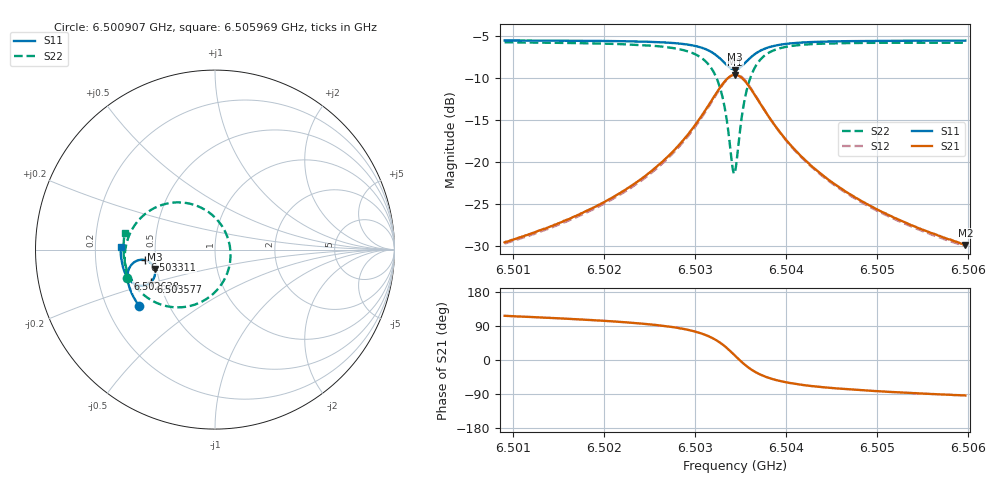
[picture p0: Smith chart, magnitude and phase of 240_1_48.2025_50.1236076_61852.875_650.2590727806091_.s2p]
#  HZ  S  RI  R  50.00
! Rohde & Schwarz Vector Network Analyzer
! Rohde-Schwarz,ZNB20-2Port,1311601062101988,3.16
! Created: UTC 3/20/2024, 11:46:48 AM
! freq[Hz]  re:S11  im:S11  re:S21  im:S21  re:S12  im:S12  re:S22  im:S22
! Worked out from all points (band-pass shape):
!   401 points, 6.500907 GHz to 6.505969 GHz, reference 50 ohm
!   highest |S21| = -9.65 dB at 6.503438 GHz (marker M1); lowest = -29.9 dB at 6.505969 GHz (marker M2)
!   |S21| within 3 dB of the highest: 6.503184 GHz to 6.50369 GHz (505.9 kHz wide, 0.00778 % of centre)
!   lowest |S11| = -9.0 dB at 6.503438 GHz (marker M3), VSWR 2.09, Z = 24.3 - j5.98 ohm
!   |S11| at or under -10 dB: nowhere
!   |S22| runs from -21.4 to -5.8 dB; largest |S21 - S12| = 0.012
!   S11 on the Smith chart (normalised r, x): 6.500907 GHz: 0.34, -0.29; 6.502628 GHz: 0.33, -0.15; 6.503311 GHz: 0.44, -0.06; 6.503577 GHz: 0.45, -0.19; 6.505969 GHz: 0.31, +0.01
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6.5009074e9  -0.4244 -0.3118  -0.0149 0.0298  -0.0133 0.03  -0.4888 -0.1579
6.5017551e9  -0.4611 -0.2496  -0.0144 0.0475  -0.0118 0.0471  -0.5026 -0.0683
6.5022359e9  -0.478 -0.2071  -0.0114 0.0675  -0.00828 0.0664  -0.4996 -0.000154
6.5026028e9  -0.4867 -0.1667  -0.0024 0.0962  0.00114 0.0939  -0.4806 0.073
6.5026281e9  -0.4871 -0.1634  -0.00136 0.099  0.00226 0.0966  -0.478 0.0792
6.5029192e9  -0.4834 -0.1187  0.0259 0.1429  0.0298 0.1384  -0.4213 0.1683
6.503109e9  -0.4621 -0.0805  0.0801 0.1848  0.0827 0.1786  -0.3177 0.2409
6.5032228e9  -0.4295 -0.0599  0.1493 0.2022  0.1502 0.196  -0.1929 0.2629
6.5033114e9  -0.3891 -0.0584  0.2289 0.1857  0.2293 0.1808  -0.0555 0.2218
6.5033494e9  -0.3698 -0.0661  0.2651 0.1622  0.266 0.1578  0.00425 0.1744
6.5034126e9  -0.3432 -0.093  0.3127 0.098  0.3153 0.0931  0.0755 0.0504
6.5034379e9  -0.3369 -0.1076  0.3228 0.0658  0.3259 0.0599  0.0861 -0.00967
6.5034632e9  -0.3341 -0.1232  0.3261 0.0321  0.3296 0.025  0.0838 -0.0714
6.5035265e9  -0.3414 -0.1604  0.3074 -0.0458  0.3093 -0.0558  0.0271 -0.206
6.5035771e9  -0.358 -0.1823  0.2739 -0.0911  0.2733 -0.1023  -0.0496 -0.2764
6.503691e9  -0.4021 -0.2012  0.1896 -0.135  0.1843 -0.1448  -0.2202 -0.3217
6.5038555e9  -0.4482 -0.1915  0.1082 -0.1321  0.101 -0.1369  -0.367 -0.2745
6.5040326e9  -0.4756 -0.1701  0.0637 -0.1118  0.0575 -0.1141  -0.4387 -0.2095
6.5042857e9  -0.4962 -0.1402  0.0338 -0.0874  0.0291 -0.088  -0.4819 -0.1375
6.5046653e9  -0.5117 -0.1008  0.0148 -0.0643  0.0116 -0.0641  -0.5042 -0.0625
6.5051334e9  -0.5212 -0.0576  0.0049 -0.0478  0.00278 -0.0472  -0.5102 0.00317
6.5059685e9  -0.5259 0.013  -0.002 -0.032  -0.00336 -0.0314  -0.5021 0.0912
